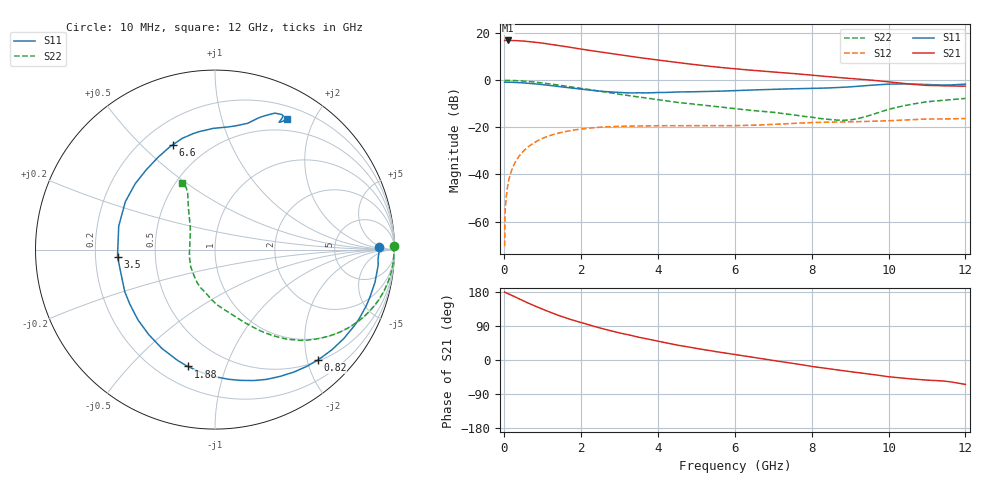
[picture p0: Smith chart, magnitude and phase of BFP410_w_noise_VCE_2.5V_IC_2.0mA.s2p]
! Infineon Technologies  Discrete & RF Semiconductors
! BFP410
! VCE =  2.5 V,  IC =  2.0 mA
! Common Emitter S-Parameters:  Nov 2015
# GHz  S  MA  R  50
!  f  S11  S21  S12  S22
! GHz  MAG  ANG  MAG  ANG  MAG  ANG  MAG  ANG
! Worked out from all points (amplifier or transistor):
!   243 points, 10 MHz to 12 GHz, reference 50 ohm
!   highest |S21| = 16.9 dB at 100 MHz (marker M1)
!   |S21| within 3 dB of that: start of sweep to 1.746 GHz
!   unconditionally stable (mu >= 1): 4.077 GHz to end of sweep
!   at 240 MHz: K = 0.04, MSG = 26.6 dB, |S12| = -36.3 dB
!   at 1.84 GHz: K = 0.38, MSG = 17.4 dB, |S12| = -21.1 dB
!   at 12 GHz: K = 1.15, MAG = 4.5 dB, |S12| = -16.2 dB
!   lowest NFmin = 0.82 dB at 900 MHz
!   S11 on the Smith chart (normalised r, x): 10 MHz: 22, +3; 820 MHz: 0.53, -2.19; 1.88 GHz: 0.32, -0.75; 3.5 GHz: 0.30, -0.03; 6.6 GHz: 0.32, +0.62; 12 GHz: 0.35, +1.65
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0.01  0.915 0.8  7.035 179.5  0.0003 76.7  1 1.0
0.015  0.9147 0.0  7.029 179.3  0.0008 88.2  0.996 0.6
0.025  0.9136 -1.1  7.02 178.8  0.0017 90.3  0.9928 -0.1
0.1  0.9133 -5.6  7.036 175.2  0.0064 86.2  0.9965 -2.9
0.24  0.9062 -13.8  6.989 168.4  0.0153 82.5  0.9904 -7.1
0.44  0.8908 -25.4  6.884 159.0  0.0278 76.4  0.9722 -13.0
0.62  0.8684 -35.8  6.695 150.4  0.0384 70.6  0.9479 -18.2
0.82  0.8396 -47.1  6.425 141.7  0.0494 64.6  0.9143 -23.6
1.08  0.7967 -61.8  6.041 130.7  0.0624 57.2  0.8631 -30.1
1.3  0.7602 -73.7  5.689 122.0  0.0717 51.2  0.817 -35.2
1.88  0.6682 -103.0  4.789 102.2  0.0897 37.8  0.6999 -46.2
2.02  0.6484 -109.5  4.589 97.9  0.0928 35.1  0.674 -48.3
2.66  0.5752 -139.9  3.821 80.0  0.1027 23.7  0.558 -57.5
3.5  0.5446 -175.9  3.057 60.0  0.1074 13.0  0.4417 -67.6
4.1  0.5522 163.4  2.641 47.6  0.1087 7.8  0.3774 -74.8
5  0.5765 140.5  2.138 30.4  0.1089 1.8  0.3077 -87.9
6.1  0.6079 119.9  1.731 12.9  0.1095 -1.7  0.2452 -102.8
6.6  0.6295 112.0  1.598 5.1  0.1123 -2.7  0.2237 -111.8
8.2  0.6802 87.3  1.249 -19.7  0.1278 -9.8  0.1555 -153.1
9  0.7266 75.5  1.098 -30.7  0.1314 -13.7  0.144 166.3
10.2  0.8348 65.0  0.892 -46.1  0.1411 -18.2  0.2651 123.7
12  0.8302 60.9  0.754 -64.4  0.1547 -30.6  0.4126 116.1
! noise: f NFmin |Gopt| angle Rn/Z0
0.45  0.86  0.5  7  0.29
0.9  0.82  0.48  21  0.27
1.8  1.05  0.37  55  0.23
2.4  1.09  0.36  63  0.19
5.5  2.24  0.36  -145  0.21
10  3.98  0.7  -56  2.38
